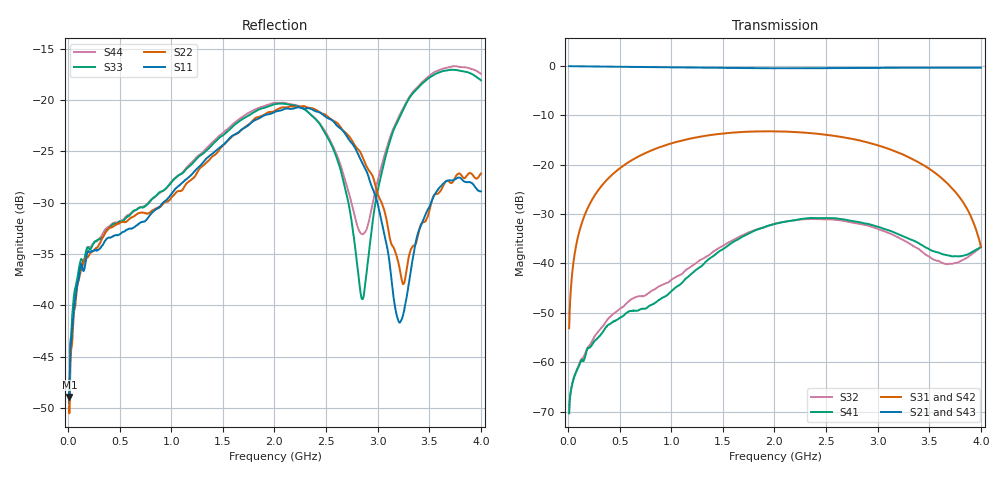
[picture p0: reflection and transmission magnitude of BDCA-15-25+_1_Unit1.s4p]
!Mini-Circuits Lab;
!S-parameters;
!Model: BDCA-15-25+;  Unit1;
!Run: W55730; Lot: N/A; Date Code: N/A;
!Fixture: 90-1-20-113, S/N: 62007, Due: 06/16/2012;
!Connection: Port1 to Pin1, Port2 to Pin6, Port3 to Pin10, Port4 to Pin5, Pins 2,3,4,7,8,9 - grounded;
!Tested with PNA-L Network Analyzer N5230A, S/N: 67766, Cal.Due: 09/22/2012.
# MHZ S DB R 50
!Frequency  S11 dB  S11 DEG  S12 dB  S12 DEG  S13 dB  S13 DEG  S14 dB  S14 DEG
!  S21 dB  S21 DEG  S22 dB  S22 DEG  S23 dB  S23 DEG  S24 dB  S24 DEG
!  S31 dB  S31 DEG  S32 dB  S32 DEG  S33 dB  S33 DEG  S34 dB  S34 DEG
!  S41 dB  S41 DEG  S42 dB  S42 DEG  S43 dB  S43 DEG  S44 dB  S44 DEG
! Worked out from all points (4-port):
!   1546 points, 10 MHz to 4 GHz, reference 50 ohm
!   strongest paths, dB at 10 MHz, 782 MHz, 1.556 GHz, 2.328 GHz, 4 GHz:
!     S21: -0.1, -0.3, -0.4, -0.5, -0.4
!     S43: -0.1, -0.3, -0.5, -0.5, -0.5
!     S31: -53.1, -17.4, -13.6, -13.6, -36.6
!     S42: -53.2, -17.4, -13.6, -13.6, -36.1
!     S41: -70.3, -48.7, -36.3, -30.8, -36.7
!     S32: -70.3, -46.0, -35.7, -31.0, -36.7
!   lowest |S11| = -48.9 dB at 12 MHz (marker M1), VSWR 1.01, Z = 50.3 + j0.247 ohm
!   |S11| at or under -10 dB: start of sweep to end of sweep
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10  -48.56 49.4  -0.08 -0.7  -53.04 84.7  -70.29 -121.0
    -0.08 -0.7  -49.86 75.6  -70.22 -123.1  -53.09 84.8
    -53.08 85.3  -70.31 -127.7  -49.54 37.5  -0.08 -0.7
    -70.30 -123.8  -53.16 84.8  -0.10 -0.7  -48.82 48.0
12  -48.90 43.3  -0.08 -0.8  -51.65 84.5  -69.11 -128.2
    -0.09 -0.8  -50.50 66.4  -69.14 -129.0  -51.65 84.5
    -51.65 84.5  -69.03 -129.0  -49.10 34.4  -0.09 -0.9
    -69.20 -129.6  -51.67 84.5  -0.10 -0.8  -48.54 46.8
296  -34.55 39.9  -0.16 -17.5  -25.05 71.1  -54.78 133.3
     -0.16 -17.5  -34.14 36.4  -53.67 138.4  -25.06 71.2
     -25.07 71.1  -53.66 138.4  -33.56 45.3  -0.16 -17.9
     -54.84 133.4  -25.08 71.2  -0.17 -17.9  -33.56 40.7
1280  -26.39 37.6  -0.38 -72.9  -14.34 16.0  -40.72 100.7
      -0.38 -72.9  -26.62 -7.5  -39.30 81.2  -14.34 15.9
      -14.35 15.9  -39.31 81.2  -25.40 16.4  -0.39 -74.6
      -40.71 100.6  -14.34 15.9  -0.39 -74.6  -25.28 18.1
2850  -26.10 -78.5  -0.44 -159.8  -15.23 -71.1  -31.75 -48.7
      -0.44 -159.7  -25.47 -55.9  -32.10 -66.4  -15.28 -70.8
      -15.24 -71.1  -32.09 -66.4  -39.38 -168.7  -0.44 -164.1
      -31.78 -48.7  -15.28 -70.8  -0.44 -164.1  -33.05 21.7
3215  -41.66 -175.6  -0.41 179.5  -17.66 -92.9  -34.22 -87.7
      -0.40 179.6  -36.51 -10.1  -34.93 -105.8  -17.71 -92.1
      -17.68 -92.9  -34.93 -105.9  -21.62 78.4  -0.44 174.3
      -34.24 -87.6  -17.72 -92.0  -0.45 174.4  -21.42 83.7
4000  -28.88 23.0  -0.40 134.7  -36.58 -156.0  -36.64 -115.9
      -0.40 134.7  -27.16 76.7  -36.71 -115.8  -36.09 -134.0
      -36.59 -156.1  -36.72 -115.8  -18.07 16.3  -0.47 128.6
      -36.67 -115.9  -36.11 -134.1  -0.47 128.6  -17.44 67.1
